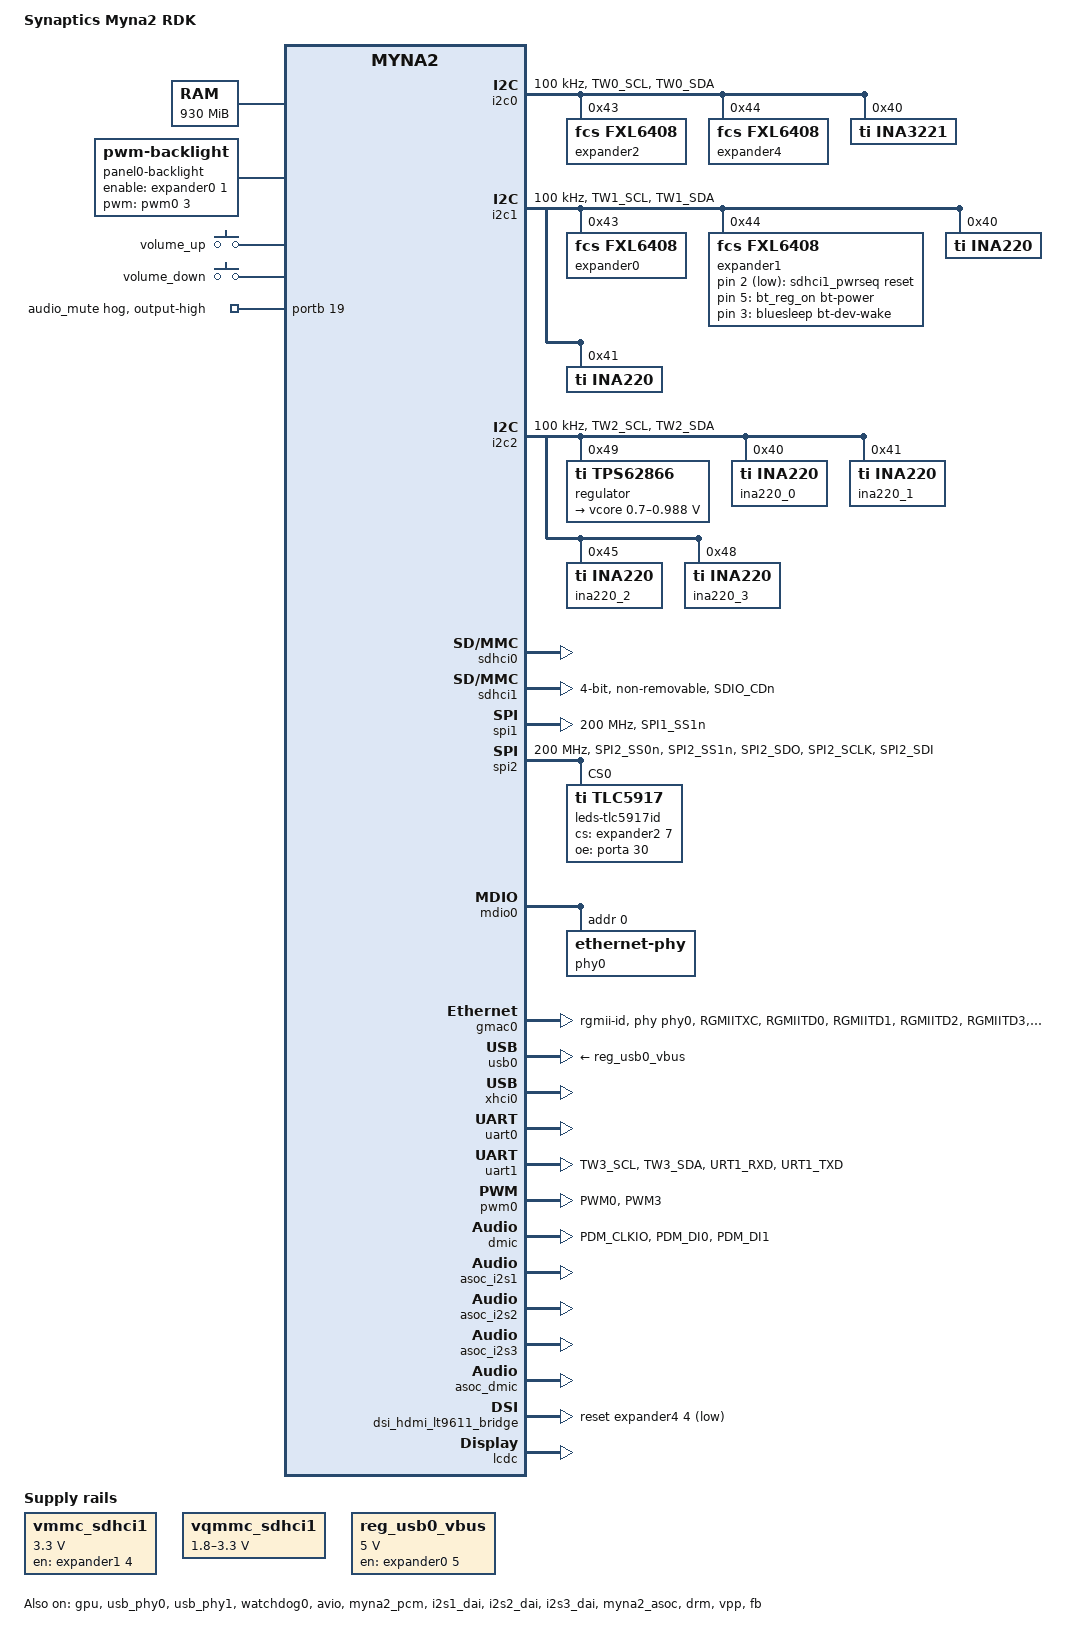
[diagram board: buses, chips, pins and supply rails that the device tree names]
/* SPDX-License-Identifier: GPL-2.0+ */
/*
* Copyright (C) 2016~2023 Synaptics Incorporated. All rights reserved.
*
* This program is free software; you can redistribute it and/or modify
* it under the terms of the GNU General Public License version 2 or
* later as published by the Free Software Foundation.
*
* INFORMATION CONTAINED IN THIS DOCUMENT IS PROVIDED "AS-IS," AND
* SYNAPTICS EXPRESSLY DISCLAIMS ALL EXPRESS AND IMPLIED WARRANTIES,
* INCLUDING ANY IMPLIED WARRANTIES OF MERCHANTABILITY AND FITNESS FOR
* A PARTICULAR PURPOSE, AND ANY WARRANTIES OF NON-INFRINGEMENT OF ANY
* INTELLECTUAL PROPERTY RIGHTS. IN NO EVENT SHALL SYNAPTICS BE LIABLE
* FOR ANY DIRECT, INDIRECT, INCIDENTAL, SPECIAL, PUNITIVE, OR
* CONSEQUENTIAL DAMAGES ARISING OUT OF OR IN CONNECTION WITH THE USE
* OF THE INFORMATION CONTAINED IN THIS DOCUMENT, HOWEVER CAUSED AND
* BASED ON ANY THEORY OF LIABILITY, WHETHER IN AN ACTION OF CONTRACT,
* NEGLIGENCE OR OTHER TORTIOUS ACTION, AND EVEN IF SYNAPTICS WAS
* ADVISED OF THE POSSIBILITY OF SUCH DAMAGE. IF A TRIBUNAL OF
* COMPETENT JURISDICTION DOES NOT PERMIT THE DISCLAIMER OF DIRECT
* DAMAGES OR ANY OTHER DAMAGES, SYNAPTICS' TOTAL CUMULATIVE LIABILITY
* TO ANY PARTY SHALL NOT EXCEED ONE HUNDRED U.S. DOLLARS.
*/

/dts-v1/;

/memreserve/ 0x3ff00000 0x00100000;

#include <dt-bindings/gpio/gpio.h>
#include <dt-bindings/input/linux-event-codes.h>

#include "myna2.dtsi"

/ {
	model = "Synaptics Myna2 RDK";
	compatible = "syna,myna2-rdk", "syna,myna2";

	cpus {
		cpu@0 {
			cpu0-supply = <&vcore>;
		};
	};

	chosen {
		bootargs = "cma=0x4000000@0x38800000";
		stdout-path = "serial0:115200n8";
	};

	memory {
		device_type = "memory";
		reg = <0 0x4a00000 0 0x3a200000>;
	};

	panel0-backlight {
		compatible = "pwm-backlight";
		pwms = <&pwm0 3 1000000 0>;
		brightness-levels = <0 36 72 108 144 180 212 255>;
		default-brightness-level = <7>;
		enable-gpio = <&expander0 1 GPIO_ACTIVE_HIGH>;
	};

	ion {
		compatible = "syna,berlin-heaps";
		pool-num = <2>;
		reg-names = "NonSecure-NC", "Secure";
		reg = <0 0x3ec00000 0  0x400000>,
			<0 0x3f000000 0 0x1000000>;
		attributes-num-per-pool = <2>;
		pool-attributes = <0x00000105 0x00000F3A 0x00000102 0x00000F3D>;
	};

	sdhci1_pwrseq: sdhci1-pwrseq {
		compatible = "mmc-pwrseq-simple";
		reset-gpios = <&expander1 2 GPIO_ACTIVE_LOW>;
		post-power-on-delay-ms = <50>;
	};

	regulators {
		compatible = "simple-bus";
		#address-cells = <1>;
		#size-cells = <0>;

		vmmc_sdhci1: vmmc_sdhci1 {
			compatible = "regulator-fixed";
			regulator-min-microvolt = <3300000>;
			regulator-max-microvolt = <3300000>;
			regulator-name = "vmmc_sdio";
			enable-active-high;
			regulator-boot-on;
			gpio = <&expander1 4 GPIO_ACTIVE_HIGH>;
		};

		vqmmc_sdhci1: vqmmc_sdhci1 {
			compatible = "regulator-gpio";
			regulator-min-microvolt = <1800000>;
			regulator-max-microvolt = <3300000>;
			regulator-name = "vqmmc_sdio";
			regulator-type = "voltage";
			enable-active-high;
			gpios = <&expander1 6 GPIO_ACTIVE_HIGH>;
			states = <1800000 0x0
				  3300000 0x1>;
		};

		reg_usb0_vbus: usb0_vbus {
			compatible = "regulator-fixed";
			regulator-name = "usb0_vbus";
			regulator-min-microvolt = <5000000>;
			regulator-max-microvolt = <5000000>;
			gpio = <&expander0 5 GPIO_ACTIVE_HIGH>;
			enable-active-high;
			regulator-boot-on;
		};

	};

	bt_reg_on: bt_reg_on {
		compatible = "syna,rfkill";
		bt-power-gpio = <&expander1 5 GPIO_ACTIVE_HIGH>;
	};

	bluesleep: bluesleep {
		compatible = "syna,bluesleep";
		bt-dev-wake-gpio = <&expander1 3 GPIO_ACTIVE_HIGH>;
	};

	gpio_keys {
		compatible = "gpio-keys";
		label = "gpio-keys";
		pinctrl-names = "default";
		pinctrl-0 = <&vol_key_pmux>;

		vol_up {
			label = "volume_up";
			gpio = <&portb 15 GPIO_ACTIVE_HIGH>;
			linux,code = <KEY_VOLUMEUP>;
			linux,can-disable;
			debounce-interval = <15>;
		};

		vol_down {
			label = "volume_down";
			gpio = <&portb 16 GPIO_ACTIVE_HIGH>;
			linux,code = <KEY_VOLUMEDOWN>;
			linux,can-disable;
			debounce-interval = <15>;
		};
	};
};

&i2c0 {
	status = "okay";
	pinctrl-0 = <&i2c0_pmux>;
	pinctrl-names = "default";
	clock-frequency = <100000>;

	expander2: gpio@43 {
		compatible = "fcs,fxl6408";
		reg = <0x43>;
		gpio-controller;
		#gpio-cells = <2>;

		dmic_hog {
			gpio-hog;
			gpios = <4 GPIO_ACTIVE_HIGH>;
			output-high;
		};

		levelshift_en {
			gpio-hog;
			gpios = <5 GPIO_ACTIVE_HIGH>;
			output-low;
		};
	};

	expander4: gpio@44 {
		compatible = "fcs,fxl6408";
		reg = <0x44>;
		gpio-controller;
		#gpio-cells = <2>;
	};

	ina3221@40{
		compatible = "ti,ina3221";
		reg = <0x40>;
		#address-cells = <1>;
		#size-cells = <0>;

		input@0 {
			reg = <0x0>;
			label = "VCORE";
		};

		input@1 {
			reg = <0x1>;
			label = "1V2";
		};

		input@2 {
			reg = <0x2>;
			label = "2V5";
		};
	};
};

&i2c1 {
	status = "okay";
	pinctrl-0 = <&i2c1_pmux>;
	pinctrl-names = "default";
	no-irq-suspend;
	clock-frequency = <100000>;

	expander0: gpio@43 {
		compatible = "fcs,fxl6408";
		reg = <0x43>;
		gpio-controller;
		#gpio-cells = <2>;

		en_wifi {
			gpio-hog;
			gpios = <0 GPIO_ACTIVE_LOW>;
			output-low;
		};
	};

	expander1: gpio@44 {
		compatible = "fcs,fxl6408";
		reg = <0x44>;
		gpio-controller;
		#gpio-cells = <2>;

		audio_mux {
			gpio-hog;
			gpios = <0 GPIO_ACTIVE_HIGH>;
			output-high;
		};
	};

	ina220@40 {
		compatible = "ti,ina220";
		reg = <0x40>;
	};

	ina220@41 {
		compatible = "ti,ina220";
		reg = <0x41>;
	};
};

&i2c2 {
	status = "okay";
	pinctrl-0 = <&i2c2_pmux>;
	pinctrl-names = "default";
	no-irq-suspend;
	clock-frequency = <100000>;

	regulator@49 {
		compatible = "ti,tps62866";
		reg = <0x49>;
		regulators {
			vcore: SW {
				regulator-boot-on;
				regulator-always-on;
				regulator-active-discharge = <0>;
				regulator-name = "vcore";
				regulator-min-microvolt = <700000>;
				regulator-max-microvolt = <987500>;
				regulator-initial-mode = <0>;
			};
		};
	};

	ina220_0: ina220-0@40 {
		compatible = "ti,ina220";
		reg = <0x40>;
	};

	ina220_1: ina220-1@41 {
		compatible = "ti,ina220";
		reg = <0x41>;
	};

	ina220_2: ina220-2@45 {
		compatible = "ti,ina220";
		reg = <0x45>;
	};

	ina220_3: ina220-3@48 {
		compatible = "ti,ina220";
		reg = <0x48>;
	};
};

&pinctrl {
	gmac0_pmux: gmac0-pmux {
		groups = "RGMIITXC", "RGMIITD0", "RGMIITD1", "RGMIITD2", "RGMIITD3", "RGMIITXCTL", "RGMIIRXC", "RGMIIRD0", "RGMIIRD1", "RGMIIRD2", "RGMIIRD3", "RGMIIRXCTL", "RGMII_CLK_OUT";
		function = "rgmii";
		drive-strength = <3>;
	};

	rgmiia_pmux: rgmiia-pmux {
		groups = "GPIO_A0", "GPIO_A1";
		function = "rgmiia";
		drive-strength = <6>;
	};


	sdio_pmux: sdio-pmux {
		groups = "LCDGPIO3", "LCDGPIO4";
		function = "sdio";
	};

	i2c0_pmux: i2c0-pmux {
		groups = "TW0_SCL", "TW0_SDA";
		function = "tw0";
		drive-strength = <7>;
	};

	i2c1_pmux: i2c1-pmux {
		groups = "TW1_SCL", "TW1_SDA";
		function = "tw1";
		drive-strength = <7>;
	};

	i2c2_pmux: i2c2-pmux {
		groups = "TW2_SCL", "TW2_SDA";
		function = "tw2";
		drive-strength = <7>;
	};

	gpio2_pmux: gpio2-pmux {
		groups = "TDO";
		function = "gpio";
	};

	expander2_pmux: expander2-pmux {
		groups = "PWM2";
		function = "gpio";
	};

	spi1_pmux: spi1-pmux {
		groups = "SPI1_SS1n";
		function = "spi1";
	};

	spi2_pmux: spi2-pmux {
		groups = "SPI2_SS0n", "SPI2_SS1n", "SPI2_SDO", "SPI2_SCLK", "SPI2_SDI";
		function = "spi2";
	};

	pwm0_pmux: pwm0-pmux {
		groups = "PWM0";
		function = "pwm";
	};

	pwm3_pmux: pwm3-pmux {
		groups = "PWM3";
		function = "pwm";
	};

	uart1_pmux: uart1-pmux {
		groups = "TW3_SCL", "TW3_SDA", "URT1_RXD", "URT1_TXD";
		function = "urt1a";
	};

	i2s1_pmux: i2s1-pmux {
		groups = "I2S1_BCLK", "I2S1_LRCK", "I2S1_DO", "I2S1_DI", "I2S1_MCLK";
		function = "i2s1";
	};

	i2s3_pmux: i2s3-pmux {
		groups = "I2S3_BCLK", "I2S3_LRCK", "I2S3_DO", "I2S3_DI";
		function = "i2s3";
	};

	i2s2_pmux: i2s2-pmux {
		groups = "I2S2_BCLK", "I2S2_LRCK", "I2S2_DO", "I2S2_DI";
		function = "i2s2";
	};

	tlv_amp: tlv-amp-enable {
		groups = "I2S2_DI";
		function = "gpio";
	};

	pdm_pmux: pdm-pmux {
		groups = "PDM_CLKIO", "PDM_DI0", "PDM_DI1";
		function = "pdm";
	};

	lcdc_pmux: lcdc-pmux {
		groups = "LCDD0", "LCDD1", "LCDD2", "LCDD3", "LCDD4", "LCDD5", "LCDD6", "LCDD7",
				 "LCDD8", "LCDD9", "LCDD10", "LCDD11", "LCDD12", "LCDD13", "LCDD14", "LCDD15",
				 "LCDD16", "LCDD17", "LCDD18", "LCDD19", "LCDD20", "LCDD21", "LCDD22", "LCDD23";
		function = "lcd";
	};

	lcdc_pmux1: lcdc-pmux1 {
		groups = "LPCLK";
		function = "lpclk";
	};

	lcdc_gpio_pmux: lcdc-gpio-pmux {
		groups = "LCDGPIO0", "LCDGPIO1", "LCDGPIO2";
		function = "lcdgpio";
	};

	audio_mute: audio-mute {
		groups = "USB2_DRV_VBUS";
		function = "gpio";
	};

	sdhci1_pmux: sdhci1-pmux {
		groups = "SDIO_CDn";
		function = "sdio";
		drive-strength = <7>;
    };

	vol_key_pmux: vol-key-pmux {
		groups = "GPIO_A2", "GPIO_A3";
		function = "gpio";
	};

};

&gpu {
	status = "okay";
};

&sdhci0 {
	status = "okay";
	sdclkdl-dc = /bits/ 8 <26>;
	pad-sp = /bits/ 8 <10>;
	pad-sn = /bits/ 8 <10>;
	mmc-ddr-1_8v;
	mmc-hs200-1_8v;
	mmc-hs400-1_8v;
	dll-calibration;
};

&sdhci1 {
	status = "okay";
	pinctrl-0 = <&sdhci1_pmux>;
	pinctrl-names = "default";
	bus-width = <4>;
	sdclkdl-dc = /bits/ 8 <35>;
	pad-sp = /bits/ 8 <12>;
	pad-sn = /bits/ 8 <12>;
	no-sd;
	no-mmc;
	non-removable;
	mmc-pwrseq = <&sdhci1_pwrseq>;
	mode1-tune;
	keep-power-in-suspend;
};

&spi1 {
	status = "okay";
	max-write-size = <128>;
	clock-frequency = <200000000>;
	pinctrl-0 = <&spi1_pmux>;
	pinctrl-names = "default";
};

&spi2 {
	status = "okay";
	max-write-size = <128>;
	clock-frequency = <200000000>;
	pinctrl-0 = <&spi2_pmux>;
	pinctrl-names = "default";

	leds-tlc5917id@0 {
		compatible = "ti,tlc5917";
		cs-gpio = <&expander2 7 GPIO_ACTIVE_HIGH>;
		oe-gpio = <&porta 30 GPIO_ACTIVE_HIGH>;
		#address-cells = <1>;
		#size-cells = <0>;
		reg = <0>;

		led0 {
			reg = <0>;
			label = "LED0";
		};

		led1 {
			reg = <1>;
			label = "LED1";
		};

		led2 {
			reg = <2>;
			label = "LED2";
		};

		led3 {
			reg = <3>;
			label = "LED3";
		};

		led4 {
			reg = <4>;
			label = "LED4";
		};

		led5 {
			reg = <5>;
			label = "LED5";
		};

		led6 {
			reg = <6>;
			label = "LED6";
		};

		led7 {
			reg = <7>;
			label = "LED7";
		};
	};
};

&mdio0 {
	phy0: ethernet-phy@0 {
		reg = <0>;
		realtek,clkout-disable;
		realtek,rxc-ssc-enable;
		realtek,sysclk-ssc-enable;
	};
};

&gmac0 {
	status = "okay";
	pinctrl-0 = <&gmac0_pmux>, <&rgmiia_pmux>;
	pinctrl-names = "default";
	phy-handle = <&phy0>;
	phy-mode = "rgmii-id";
	snps,reset-gpio = <&expander0 3 GPIO_ACTIVE_HIGH>;
	snps,reset-delays-us = <0 10000 50000>;

};

&usb_phy0 {
	status = "okay";
};

&usb0 {
	vbus-supply = <&reg_usb0_vbus>;
	status = "okay";
};

&xhci0 {
	status = "okay";
};

&usb_phy1  {
	status = "okay";
};

&uart0 {
	status = "okay";
};

&uart1 {
	pinctrl-0 = <&uart1_pmux>;
	pinctrl-names = "default";
	status = "okay";
};

&watchdog0 {
	status = "okay";
};

&pwm0 {
	status = "okay";
	pinctrl-0 = <&pwm0_pmux>, <&pwm3_pmux>;
	pinctrl-names = "default", "default";
};

&axi_meter {
	status = "okay";
};

&avio {
	status = "okay";
};

&myna2_pcm {
	status = "okay";
};

&i2s1_dai {
	status = "okay";
	pinctrl-0 = <&i2s1_pmux>;
	pinctrl-names = "default";
	clk_src = "APLL";
	clk_feed = "I2S1_DI";
	output-mclk;
};

&i2s2_dai {
	status = "okay";
	pinctrl-0 = <&i2s2_pmux>;
	pinctrl-names = "default";
	clk_src = "APLL";
	clk_feed = "I2S3_DI";
};

&i2s3_dai {
	status = "okay";
	pinctrl-0 = <&i2s3_pmux>;
	pinctrl-names = "default";
	clk_src = "APLL";
	clk_feed = "I2S3_DI";
	sample-period=<16>;
};

&dmic {
	status = "okay";
	pinctrl-0 = <&pdm_pmux>;
	pinctrl-names = "default";
	pdm-type = <1>;
	pdm-clk-sel = <1>;
};

&myna2_asoc {
	status = "okay";

	asoc_i2s1: asoc-i2s1 {
		status = "okay";
		stream-name = "asoc-i2s1";
		link-name = "asoc-i2s1";
		format = "i2s";
		bitclock-master;
		frame-master;
		cpu-node = <&i2s1_dai>;
		codec-name = "snd-soc-dummy";
		codec-dai-name = "snd-soc-dummy-dai";
		platform-node = <&myna2_pcm>;
	};

	asoc_i2s2: asoc-i2s2 {
		status = "okay";
		stream-name = "asoc-i2s2";
		link-name = "asoc-i2s2";
		format = "i2s";
		bitclock-master;
		frame-master;
		cpu-node = <&i2s2_dai>;
		codec-name = "snd-soc-dummy";
		codec-dai-name = "snd-soc-dummy-dai";
		platform-node = <&myna2_pcm>;
	};

	asoc_i2s3: asoc-i2s3 {
		status = "okay";
		stream-name = "asoc-i2s3";
		link-name = "asoc-i2s3";
		format = "i2s";
		bitclock-master;
		frame-master;
		cpu-node = <&i2s3_dai>;
		codec-name = "snd-soc-dummy";
		codec-dai-name = "snd-soc-dummy-dai";
		platform-node = <&myna2_pcm>;
	};

	asoc_dmic: asoc-dmic {
		status = "okay";
		stream-name = "dummy-dmic";
		link-name = "dummy-dmic";
		cpu-node = <&dmic>;
		codec-name = "snd-soc-dummy";
		codec-dai-name = "snd-soc-dummy-dai";
		platform-node = <&myna2_pcm>;
	};
};


&drm {
	status = "okay";

	pinctrl-0 = <&lcdc_pmux>, <&lcdc_pmux1>, <&lcdc_gpio_pmux>;
	pinctrl-names = "default", "default", "default", "default";
	sw_partition = <14>;
	devnum = <0>;
	hw_partition = <0>; //0 - Default; 4 - 7 For GP1 to GP4

	lcdc_panel {
		status= "okay";
		hact = <800>;
		hfp = <210>;
		hsa = <2>;
		hbp = <46>;
		vact = <480>;
		vfp = <22>;
		vsa = <2>;
		vbp = <23>;
		pixclockKhz = <33300>;
		bits_per_pixel = <24>;
		busformat = <0>;
		rgbswap = <1>;
	};

	dsi_panel {
		status= "okay";

		ACTIVE_WIDTH = <1920>;
		HFP = <88>;
		HSYNCWIDTH = <44>;
		HBP = <148>;
		ACTIVE_HEIGHT = <1080>;
		VFP = <4>;
		VSYNCWIDTH = <5>;
		VBP = <36>;
		FREQ = <148500>;
		bits_per_pixel = <24>;
		busformat = <0>;

		HTOTAL = <2200>;
		Lanes = /bits/ 8 <4>;
		Vid_mode = /bits/ 8 <2>;
		virtual_chan = /bits/ 8 <0>;
		Clk_Lane_Polarity = /bits/ 8 <0>;
		Data_Lane_Polarity = /bits/ 8 <0>;
		Recv_ack = /bits/ 8 <0>;
		Loosely_18 = /bits/ 8 <0>;
		H_polarity = /bits/ 8 <1>;
		V_Polarity = /bits/ 8 <1>;
		Data_Polarity = /bits/ 8 <1>;
		Eotp_tx = /bits/ 8 <1>;
		Eotp_rx = /bits/ 8 <0>;
		non-Continuous_clk = /bits/ 8 <0>;
		dpi_lp_cmd = /bits/ 8 <1>;
		Color_coding = /bits/ 8 <5>;
		Chunks = <0>;
		Null_Pkt = <0>;
		Byte_clk = <148500>;

	/*  COMMAND= Command for initialisation
	*  Format - <CMD> <Payloadlength-n> <BYTE1> <...> <BYTEn>
	*  Long write Ex: 39 04 FF 98 81 03

	*  Delay in micro seconds Command format: 0xFF <4BYTE delay>
	*  Delay for 100ms(100000us => 0x000186A0)
	*  	- FF A0 86 01 00
	*/
		command = /bits/ 8 <0xFF 0x10 0x27 0x00 0x00>;

	};

	dsi_hdmi_lt9611_bridge {
		compatible = "syna-bridge,lt9611";
		enable-gpio =  <&expander4 6 GPIO_ACTIVE_HIGH>;
		reset-gpio =  <&expander4 4 GPIO_ACTIVE_LOW>;
		i2c_bus = <1>;
	};
};

&lcdc {
	status = "okay";
};

&vpp {
	status = "okay";
	enable_ampless_boot = <1>;
};

&fb {
	status = "okay";
};

&gpio1 {
	pinctrl-0 = <&audio_mute>;
	pinctrl-names = "default";
	portb: gpio-port@1 {
			   audio_mute {
				   gpio-hog;
				   gpios = <19 GPIO_ACTIVE_HIGH>;
				   output-high;
			   };
		   };
};
